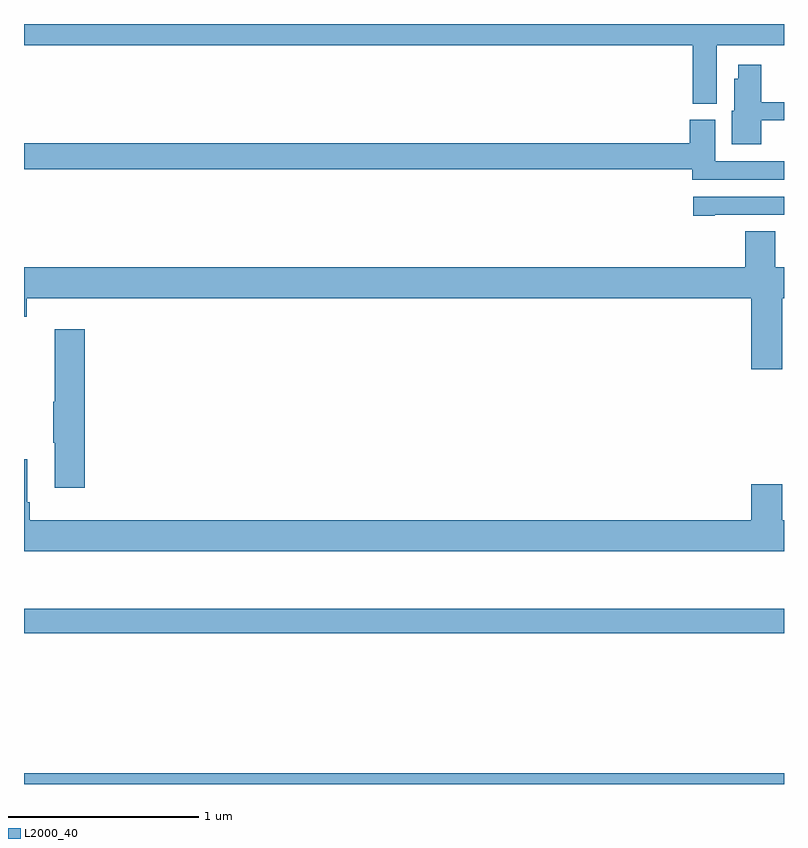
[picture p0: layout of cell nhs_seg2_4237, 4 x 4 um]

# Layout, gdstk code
import gdstk
lib = gdstk.Library(unit=1e-6, precision=1e-09)
def R(c, l, rs):  # rectangles x0, y0, x1, y1
    for r in rs: c.add(gdstk.rectangle(r[:2], r[2:], *l))
def P(c, l, *ps):  # polygons
    for p in ps: c.add(gdstk.Polygon(p, *l))
L2000_40 = (2000, 40)

nhs_seg2_4237 = lib.new_cell('nhs_seg2_4237')
R(nhs_seg2_4237, L2000_40, [(341,591.8,345,591.856), (341,592.594,345,592.723)])
P(nhs_seg2_4237, L2000_40, [(344.647,595.688),(345,595.688),(345,595.8),(341,595.8),(341,595.688),(344.519,595.688),(344.519,595.381),(344.647,595.381)],
  [(344.881,595.293),(345,595.293),(345,595.389),(344.881,595.389),(344.881,595.585),(344.759,595.585),(344.759,595.512),(344.738,595.512),(344.738,595.344),(344.726,595.344),(344.726,595.166),(344.881,595.166)],
  [(345,595.077),(344.638,595.077),(344.638,595.296),(344.504,595.296),(344.504,595.172),(341,595.172),(341,595.036),(344.516,595.036),(344.516,594.981),(345,594.981)],
  [(344.635,594.795),(345,594.795),(345,594.891),(344.523,594.891),(344.523,594.79),(344.635,594.79)],
  [(344.992,594.356),(345,594.356),(345,594.52),(344.955,594.52),(344.955,594.71),(344.795,594.71),(344.795,594.52),(341,594.52),(341,594.26),(341.015,594.26),(341.015,594.356),(344.828,594.356),(344.828,593.982),(344.992,593.982)],
  [(341.321,594.193),(341.162,594.193),(341.162,593.813),(341.155,593.813),(341.155,593.596),(341.162,593.596),(341.162,593.358),(341.321,593.358)],
  [(345,593.188),(344.992,593.188),(344.992,593.377),(344.828,593.377),(344.828,593.188),(341.03,593.188),(341.03,593.284),(341.017,593.284),(341.017,593.509),(341,593.509),(341,593.024),(345,593.024)])

lib.write_gds('nhs_seg2_4237.gds')
